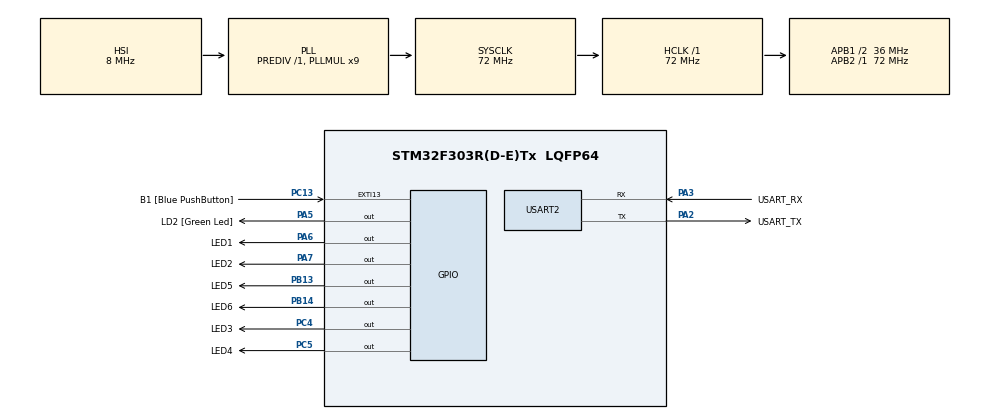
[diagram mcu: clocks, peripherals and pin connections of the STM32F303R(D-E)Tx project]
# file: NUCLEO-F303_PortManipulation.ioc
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Mcu.Family=STM32F3
Mcu.Name=STM32F303R(D-E)Tx
Mcu.Package=LQFP64
NVIC.EXTI15_10_IRQn=true\:0\:0\:false\:false\:true\:true\:true\:true
NVIC.PriorityGroup=NVIC_PRIORITYGROUP_0
PA13.GPIO_Label=TMS
PA13.Mode=Serial_Wire
PA13.Signal=SYS_JTMS-SWDIO
PA14.GPIO_Label=TCK
PA14.Mode=Serial_Wire
PA14.Signal=SYS_JTCK-SWCLK
PA2.GPIO_Label=USART_TX
PA2.GPIO_Mode=GPIO_MODE_AF_PP
PA2.GPIO_PuPd=GPIO_NOPULL
PA2.GPIO_Speed=GPIO_SPEED_FREQ_LOW
PA2.Mode=Asynchronous
PA2.Signal=USART2_TX
PA3.GPIO_Label=USART_RX
PA3.GPIO_Mode=GPIO_MODE_AF_PP
PA3.GPIO_PuPd=GPIO_NOPULL
PA3.GPIO_Speed=GPIO_SPEED_FREQ_LOW
PA3.Mode=Asynchronous
PA3.Signal=USART2_RX
PA5.GPIO_Label=LD2 [Green Led]
PA5.GPIO_Mode=GPIO_MODE_OUTPUT_PP
PA5.GPIO_PuPd=GPIO_NOPULL
PA5.GPIO_Speed=GPIO_SPEED_FREQ_LOW
PA5.Signal=GPIO_Output
PA6.GPIO_Label=LED1
PA6.Signal=GPIO_Output
PA7.GPIO_Label=LED2
PA7.Signal=GPIO_Output
PB13.GPIO_Label=LED5
PB13.Signal=GPIO_Output
PB14.GPIO_Label=LED6
PB14.Signal=GPIO_Output
PB3.GPIO_Label=SWO
PB3.Signal=SYS_JTDO-TRACESWO
PC13.GPIO_Label=B1 [Blue PushButton]
PC13.GPIO_ModeDefaultEXTI=GPIO_MODE_IT_FALLING
PC13.Signal=GPXTI13
PC14-OSC32_IN.Mode=LSE-External-Oscillator
PC14-OSC32_IN.Signal=RCC_OSC32_IN
PC15-OSC32_OUT.Mode=LSE-External-Oscillator
PC15-OSC32_OUT.Signal=RCC_OSC32_OUT
PC4.GPIO_Label=LED3
PC4.Signal=GPIO_Output
PC5.GPIO_Label=LED4
PC5.Signal=GPIO_Output
PF0-OSC_IN.Mode=HSE-External-Clock-Source
PF0-OSC_IN.Signal=RCC_OSC_IN
PF1-OSC_OUT.Signal=RCC_OSC_OUT
ProjectManager.HeapSize=0x200
ProjectManager.StackSize=0x400
ProjectManager.TargetToolchain=CMake
RCC.AHBFreq_Value=72000000
RCC.APB1CLKDivider=RCC_HCLK_DIV2
RCC.APB1Freq_Value=36000000
RCC.APB1TimFreq_Value=72000000
RCC.APB2Freq_Value=72000000
RCC.APB2TimFreq_Value=72000000
RCC.CortexFreq_Value=72000000
RCC.HCLKFreq_Value=72000000
RCC.HSE_VALUE=8000000
RCC.HSI_VALUE=8000000
RCC.PLLM=8
RCC.PLLMUL=RCC_PLL_MUL9
RCC.PLLN=336
RCC.PLLP=RCC_PLLP_DIV4
RCC.PLLQ=7
RCC.RCC_PLLsource_Clock_Source_FROM_HSE=RCC_HSE_PREDIV_DIV2
RCC.SYSCLKFreq_VALUE=72000000
RCC.SYSCLKSourceVirtual=RCC_SYSCLKSOURCE_PLLCLK
RCC.USBFreq_Value=72000000
USART2.VirtualMode-Asynchronous=VM_ASYNC
board=NUCLEO-F303RE

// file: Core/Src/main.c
/* USER CODE BEGIN Header */
/**
  ******************************************************************************
  * @file           : main.c
  * @brief          : Main program body
  ******************************************************************************
  * @attention
  *
  * Copyright (c) 2026 STMicroelectronics.
  * All rights reserved.
  *
  * This software is licensed under terms that can be found in the LICENSE file
  * in the root directory of this software component.
  * If no LICENSE file comes with this software, it is provided AS-IS.
  *
  ******************************************************************************
  */
/* USER CODE END Header */
#include "main.h"

/* USER CODE BEGIN PTD */
typedef struct
{
  GPIO_TypeDef * Port;
  uint16_t Pin;
} GPIO_PortMap_HandleTypeDef;
/* USER CODE END PTD */

/* USER CODE BEGIN PD */
#define LEDS_QTY 6
/* USER CODE END PD */

UART_HandleTypeDef huart2;

/* USER CODE BEGIN PV */
const GPIO_PortMap_HandleTypeDef ledsArray[LEDS_QTY] = {
    {LED1_GPIO_Port, LED1_Pin},
    {LED2_GPIO_Port, LED2_Pin},
    {LED3_GPIO_Port, LED3_Pin},
    {LED4_GPIO_Port, LED4_Pin},
    {LED5_GPIO_Port, LED5_Pin},
    {LED6_GPIO_Port, LED6_Pin}
};
/* USER CODE END PV */

void SystemClock_Config(void);
static void MX_GPIO_Init(void);
static void MX_USART2_UART_Init(void);

int main(void)
{

  /* MCU Configuration--------------------------------------------------------*/

  /* Reset of all peripherals, Initializes the Flash interface and the Systick. */
  HAL_Init();

  /* Configure the system clock */
  SystemClock_Config();

  /* Initialize all configured peripherals */
  MX_GPIO_Init();
  MX_USART2_UART_Init();
  /* USER CODE BEGIN 2 */
  uint8_t currentLed = 0;
  uint8_t previousLed = 0;
  uint32_t switchTime = 50;
  uint32_t lastTick = 0;

  for (uint8_t i = 0; i < LEDS_QTY; i++)
  {
    HAL_GPIO_WritePin(ledsArray[i].Port, ledsArray[i].Pin, GPIO_PIN_RESET);
  }
  /* USER CODE END 2 */

  /* Infinite loop */
  /* USER CODE BEGIN WHILE */
  while (1)
  {
    if (HAL_GetTick() - lastTick >= switchTime)
    {
      lastTick = HAL_GetTick();

      // Turn off the previous LED
      previousLed = (currentLed == 0) ? (LEDS_QTY - 1) : currentLed - 1;
      HAL_GPIO_WritePin(ledsArray[previousLed].Port, ledsArray[previousLed].Pin, GPIO_PIN_RESET);

      // Turn on the current LED
      HAL_GPIO_WritePin(ledsArray[currentLed].Port, ledsArray[currentLed].Pin, GPIO_PIN_SET);

      currentLed = (currentLed + 1) % LEDS_QTY;
    }
    /* USER CODE END WHILE */

  }
}

void SystemClock_Config(void)
{
  RCC_OscInitTypeDef RCC_OscInitStruct = {0};
  RCC_ClkInitTypeDef RCC_ClkInitStruct = {0};
  RCC_PeriphCLKInitTypeDef PeriphClkInit = {0};

  /** Initializes the RCC Oscillators according to the specified parameters
  * in the RCC_OscInitTypeDef structure.
  */
  RCC_OscInitStruct.OscillatorType = RCC_OSCILLATORTYPE_HSI;
  RCC_OscInitStruct.HSIState = RCC_HSI_ON;
  RCC_OscInitStruct.HSICalibrationValue = RCC_HSICALIBRATION_DEFAULT;
  RCC_OscInitStruct.PLL.PLLState = RCC_PLL_ON;
  RCC_OscInitStruct.PLL.PLLSource = RCC_PLLSOURCE_HSI;
  RCC_OscInitStruct.PLL.PLLMUL = RCC_PLL_MUL9;
  RCC_OscInitStruct.PLL.PREDIV = RCC_PREDIV_DIV1;
  if (HAL_RCC_OscConfig(&RCC_OscInitStruct) != HAL_OK)
  {
    Error_Handler();
  }

  /** Initializes the CPU, AHB and APB buses clocks
  */
  RCC_ClkInitStruct.ClockType = RCC_CLOCKTYPE_HCLK|RCC_CLOCKTYPE_SYSCLK
                              |RCC_CLOCKTYPE_PCLK1|RCC_CLOCKTYPE_PCLK2;
  RCC_ClkInitStruct.SYSCLKSource = RCC_SYSCLKSOURCE_PLLCLK;
  RCC_ClkInitStruct.AHBCLKDivider = RCC_SYSCLK_DIV1;
  RCC_ClkInitStruct.APB1CLKDivider = RCC_HCLK_DIV2;
  RCC_ClkInitStruct.APB2CLKDivider = RCC_HCLK_DIV1;

  if (HAL_RCC_ClockConfig(&RCC_ClkInitStruct, FLASH_LATENCY_2) != HAL_OK)
  {
    Error_Handler();
  }
  PeriphClkInit.PeriphClockSelection = RCC_PERIPHCLK_USART2;
  PeriphClkInit.Usart2ClockSelection = RCC_USART2CLKSOURCE_PCLK1;
  if (HAL_RCCEx_PeriphCLKConfig(&PeriphClkInit) != HAL_OK)
  {
    Error_Handler();
  }
}

static void MX_USART2_UART_Init(void)
{

  huart2.Instance = USART2;
  huart2.Init.BaudRate = 38400;
  huart2.Init.WordLength = UART_WORDLENGTH_8B;
  huart2.Init.StopBits = UART_STOPBITS_1;
  huart2.Init.Parity = UART_PARITY_NONE;
  huart2.Init.Mode = UART_MODE_TX_RX;
  huart2.Init.HwFlowCtl = UART_HWCONTROL_NONE;
  huart2.Init.OverSampling = UART_OVERSAMPLING_16;
  huart2.Init.OneBitSampling = UART_ONE_BIT_SAMPLE_DISABLE;
  huart2.AdvancedInit.AdvFeatureInit = UART_ADVFEATURE_NO_INIT;
  if (HAL_UART_Init(&huart2) != HAL_OK)
  {
    Error_Handler();
  }

}

static void MX_GPIO_Init(void)
{
  GPIO_InitTypeDef GPIO_InitStruct = {0};

  /* GPIO Ports Clock Enable */
  __HAL_RCC_GPIOC_CLK_ENABLE();
  __HAL_RCC_GPIOF_CLK_ENABLE();
  __HAL_RCC_GPIOA_CLK_ENABLE();
  __HAL_RCC_GPIOB_CLK_ENABLE();

  /*Configure GPIO pin Output Level */
  HAL_GPIO_WritePin(GPIOA, LD2_Pin|LED1_Pin|LED2_Pin, GPIO_PIN_RESET);

  /*Configure GPIO pin Output Level */
  HAL_GPIO_WritePin(GPIOC, LED3_Pin|LED4_Pin, GPIO_PIN_RESET);

  /*Configure GPIO pin Output Level */
  HAL_GPIO_WritePin(GPIOB, LED5_Pin|LED6_Pin, GPIO_PIN_RESET);

  /*Configure GPIO pin : B1_Pin */
  GPIO_InitStruct.Pin = B1_Pin;
  GPIO_InitStruct.Mode = GPIO_MODE_IT_FALLING;
  GPIO_InitStruct.Pull = GPIO_NOPULL;
  HAL_GPIO_Init(B1_GPIO_Port, &GPIO_InitStruct);

  /*Configure GPIO pins : LD2_Pin LED1_Pin LED2_Pin */
  GPIO_InitStruct.Pin = LD2_Pin|LED1_Pin|LED2_Pin;
  GPIO_InitStruct.Mode = GPIO_MODE_OUTPUT_PP;
  GPIO_InitStruct.Pull = GPIO_NOPULL;
  GPIO_InitStruct.Speed = GPIO_SPEED_FREQ_LOW;
  HAL_GPIO_Init(GPIOA, &GPIO_InitStruct);

  /*Configure GPIO pins : LED3_Pin LED4_Pin */
  GPIO_InitStruct.Pin = LED3_Pin|LED4_Pin;
  GPIO_InitStruct.Mode = GPIO_MODE_OUTPUT_PP;
  GPIO_InitStruct.Pull = GPIO_NOPULL;
  GPIO_InitStruct.Speed = GPIO_SPEED_FREQ_LOW;
  HAL_GPIO_Init(GPIOC, &GPIO_InitStruct);

  /*Configure GPIO pins : LED5_Pin LED6_Pin */
  GPIO_InitStruct.Pin = LED5_Pin|LED6_Pin;
  GPIO_InitStruct.Mode = GPIO_MODE_OUTPUT_PP;
  GPIO_InitStruct.Pull = GPIO_NOPULL;
  GPIO_InitStruct.Speed = GPIO_SPEED_FREQ_LOW;
  HAL_GPIO_Init(GPIOB, &GPIO_InitStruct);

  /* EXTI interrupt init*/
  HAL_NVIC_SetPriority(EXTI15_10_IRQn, 0, 0);
  HAL_NVIC_EnableIRQ(EXTI15_10_IRQn);

}

void Error_Handler(void)
{
  __disable_irq();
  while (1)
  {
  }
}
